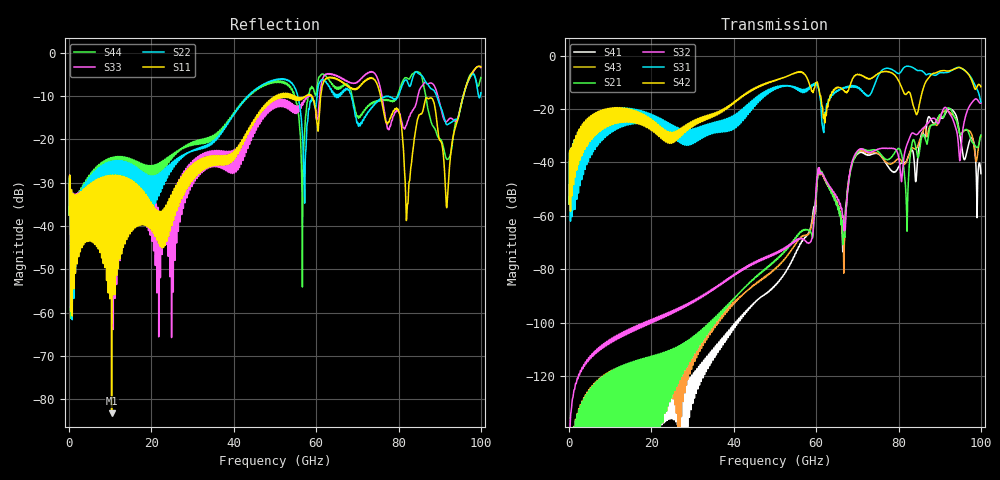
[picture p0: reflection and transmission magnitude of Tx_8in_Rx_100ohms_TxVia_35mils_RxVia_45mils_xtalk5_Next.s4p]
! Info: Touchstone file created by Circ.  Input file=Tx_8in_Rx_100ohms_TxVia_35mils_RxVia_45mils.circ
# Hz S RI R 50
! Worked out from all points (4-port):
!   10000 points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, 10 MHz to 100 GHz, reference 50 ohm
!   strongest paths, dB at 10 MHz, 25.01 GHz, 50.01 GHz, 75.01 GHz, 100 GHz:
!     S42: -55.6, -28.7, -9.4, -6.7, -11.6
!     S31: -55.6, -26.6, -12.6, -7.7, -17.3
!     S32: -162.3, -95.5, -74.0, -35.0, -17.8
!     S21: -175.6, -111.7, -76.6, -35.8, -29.7
!     S43: -175.5, -112.5, -79.8, -36.6, -30.1
!     S41: -181.0, -132.3, -86.0, -36.7, -44.2
!   lowest |S11| = -83.3 dB at 10.33 GHz (marker M1), VSWR 1.00, Z = 50 - j0.00673 ohm
!   |S11| at or under -10 dB: start of sweep to 50.08 GHz; 54.59 GHz to 57.39 GHz (2.794 GHz wide, 4.99 % of centre); 75.62 GHz to 95.73 GHz (20.1 GHz wide, 23.5 % of centre) (the widest 3 of 16)
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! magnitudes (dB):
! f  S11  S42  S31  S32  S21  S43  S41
! 10 MHz  -37.5  -55.6  -55.6  -162.3  -175.6  -175.5  -181.0
! 10.33 GHz  -83.3  -24.9  -27.0  -106.2  -123.2  -123.9  -146.0
! 52.71 GHz  -10.3  -7.8  -11.3  -72.1  -72.9  -75.6  -80.7
! 60.85 GHz  -13.4  -14.1  -14.9  -43.2  -42.8  -43.4  -42.9
! 66.6 GHz  -7.1  -12.9  -12.2  -60.3  -67.8  -69.8  -73.1
! 91.74 GHz  -35.5  -5.8  -6.3  -20.0  -19.7  -20.6  -20.6
! 100 GHz  -3.3  -11.6  -17.3  -17.8  -29.7  -30.1  -44.2
